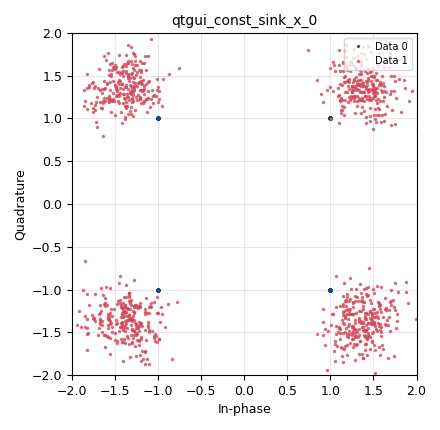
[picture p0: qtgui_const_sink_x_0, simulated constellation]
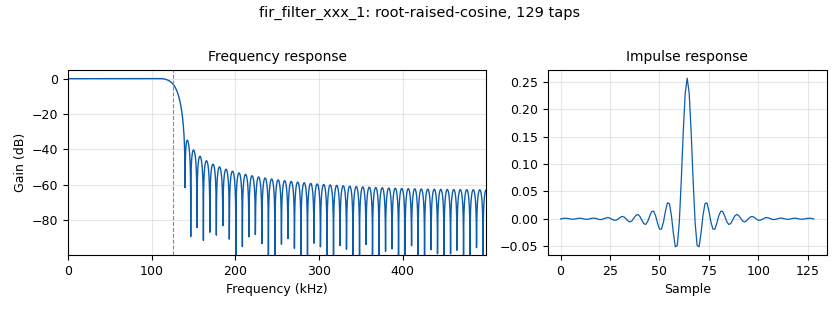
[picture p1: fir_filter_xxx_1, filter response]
options:
  parameters:
    generate_options: qt_gui
    id: QPSK_Channel
    output_language: python
    title: QPSK_Channel
  states: {}

blocks:
- name: excess_bw
  id: variable
  parameters:
    value: '0.1'
  states: {}
- name: freq_offset
  id: variable_qtgui_range
  parameters:
    label: 'Channel : Frequency Offset'
    start: '-100e-3'
    step: '1e-3'
    stop: '100e-3'
    value: '0'
  states: {}
- name: noise_volt
  id: variable_qtgui_range
  parameters:
    label: 'Channel : Noise Voltage'
    start: '0'
    step: '10e-3'
    stop: '1'
    value: '0'
  states: {}
- name: phase_bw
  id: variable
  parameters:
    value: '62.8e-3'
  states: {}
- name: qpsk
  id: variable_constellation_rect
  parameters:
    const_points: sym_map
    imag_sect: '2'
    real_sect: '2'
    rot_sym: '4'
    sym_map: '[0, 1, 2, 3]'
    w_imag_sect: '1'
    w_real_sect: '1'
  states: {}
- name: rrc_taps
  id: variable
  parameters:
    value: firdes.root_raised_cosine(1.0,samp_rate,samp_rate/sps,excess_bw,128)
  states: {}
- name: samp_rate
  id: variable
  parameters:
    value: 1e6
  states: {}
- name: sps
  id: variable
  parameters:
    value: '4'
  states: {}
- name: sym_map
  id: variable
  parameters:
    value: '[1+1j,1-1j,-1+1j,-1-1j]'
  states: {}
- name: time_offset
  id: variable_qtgui_range
  parameters:
    label: 'Channel : Timing Offset'
    start: '0.999'
    step: '100e-6'
    stop: '1.001'
    value: '1'
  states: {}
- name: variable_adaptive_algorithm_0
  id: variable_adaptive_algorithm
  parameters:
    cons: qpsk
    modulus: '4'
    step_size: '.0001'
    type: cma
  states: {}
- name: analog_random_source_x_0
  id: analog_random_source_x
  parameters:
    max: '4'
    min: '0'
    num_samps: '100000'
    repeat: 'True'
    type: byte
  states: {}
- name: blocks_char_to_float_1
  id: blocks_char_to_float
  parameters:
    scale: '1'
  states: {}
- name: blocks_char_to_float_2
  id: blocks_char_to_float
  parameters:
    scale: '1'
  states: {}
- name: blocks_delay_0
  id: blocks_delay
  parameters:
    delay: '15'
    type: complex
  states: {}
- name: blocks_delay_1
  id: blocks_delay
  parameters:
    delay: '15'
    type: float
  states: {}
- name: blocks_delay_2
  id: blocks_delay
  parameters:
    delay: '0'
    type: complex
  states: {state: disabled}
- name: blocks_delay_2_0
  id: blocks_delay
  parameters:
    delay: '3'
    type: complex
  states: {state: disabled}
- name: blocks_delay_2_1
  id: blocks_delay
  parameters:
    delay: '2'
    type: complex
  states: {state: disabled}
- name: blocks_delay_2_2
  id: blocks_delay
  parameters:
    delay: '1'
    type: complex
  states: {state: disabled}
- name: blocks_float_to_int_0
  id: blocks_float_to_int
  parameters:
    scale: '1'
  states: {}
- name: blocks_throttle2_0_0
  id: blocks_throttle2
  parameters:
    samples_per_second: samp_rate/4
    type: complex
  states: {}
- name: channels_channel_model_0
  id: channels_channel_model
  parameters:
    epsilon: time_offset
    freq_offset: freq_offset
    noise_voltage: noise_volt
    seed: '0'
    taps: '1.0'
  states: {}
- name: digital_chunks_to_symbols_xx_0
  id: digital_chunks_to_symbols_xx
  parameters:
    dimension: '1'
    in_type: int
    out_type: complex
    symbol_table: sym_map
  states: {}
- name: digital_constellation_decoder_cb_0
  id: digital_constellation_decoder_cb
  parameters:
    constellation: qpsk
  states: {}
- name: digital_costas_loop_cc_0
  id: digital_costas_loop_cc
  parameters:
    order: '4'
    w: phase_bw
  states: {}
- name: digital_linear_equalizer_0_0
  id: digital_linear_equalizer
  parameters:
    alg: variable_adaptive_algorithm_0
    num_taps: '15'
    sps: '4'
  states: {}
- name: digital_symbol_sync_xx_0
  id: digital_symbol_sync_xx
  parameters:
    constellation: digital.constellation_qpsk().base()
    damping: '1.0'
    loop_bw: 2*np.pi*0.04
    max_dev: '1.5'
    osps: '4'
    resamp_type: digital.IR_MMSE_8TAP
    sps: sps
    ted_gain: '1'
    ted_type: digital.TED_MUELLER_AND_MULLER
    type: cc
  states: {}
- name: fir_filter_xxx_1
  id: fir_filter_xxx
  parameters:
    decim: '1'
    taps: rrc_taps
    type: ccc
  states: {}
- name: import_0
  id: import
  parameters:
    imports: import numpy as np
  states: {}
- name: interp_fir_filter_xxx_0
  id: interp_fir_filter_xxx
  parameters:
    interp: '4'
    taps: '[1,0,0,0]'
    type: ccc
  states: {}
- name: qtgui_const_sink_x_0
  id: qtgui_const_sink_x
  parameters:
    grid: 'True'
    gui_hint: 0,1,1,1
    nconnections: '2'
    size: '1024'
    type: complex
  states: {}
- name: qtgui_eye_sink_x_0
  id: qtgui_eye_sink_x
  parameters:
    color2: red
    grid: 'True'
    gui_hint: 0,0,1,1
    label1: Real Delay 0
    label2: Imag Delay 0
    samp_per_symbol: sps
    size: '1024'
    srate: samp_rate
    type: complex
    ymax: '3'
    ymin: '-3'
  states: {state: disabled}
- name: qtgui_eye_sink_x_0_0
  id: qtgui_eye_sink_x
  parameters:
    color2: red
    grid: 'True'
    gui_hint: 0,1,1,1
    label1: Real Delay 1
    label2: Imag Delay 1
    samp_per_symbol: sps
    size: '1024'
    srate: samp_rate
    type: complex
    ymax: '3'
    ymin: '-3'
  states: {state: disabled}
- name: qtgui_eye_sink_x_0_1
  id: qtgui_eye_sink_x
  parameters:
    color2: red
    grid: 'True'
    gui_hint: 1,0,1,1
    label1: Real Delay 2
    label2: Imag Delay 2
    samp_per_symbol: sps
    size: '1024'
    srate: samp_rate
    type: complex
    ymax: '3'
    ymin: '-3'
  states: {state: disabled}
- name: qtgui_eye_sink_x_0_2
  id: qtgui_eye_sink_x
  parameters:
    color2: red
    grid: 'True'
    gui_hint: 1,1,1,1
    label1: Real Delay 3
    label2: Imag Delay 3
    samp_per_symbol: sps
    size: '1024'
    srate: samp_rate
    type: complex
    ymax: '3'
    ymin: '-3'
  states: {state: disabled}
- name: qtgui_number_sink_0
  id: qtgui_number_sink
  parameters:
    graph_type: qtgui.NUM_GRAPH_HORIZ
    gui_hint: 1,1,1,1
    max: '3'
    nconnections: '2'
    type: float
  states: {}
- name: qtgui_time_sink_x_1
  id: qtgui_time_sink_x
  parameters:
    gui_hint: 0,0,1,1
    nconnections: '2'
    size: '1024'
    srate: samp_rate
    type: complex
  states: {state: disabled}
- name: qtgui_time_sink_x_2
  id: qtgui_time_sink_x
  parameters:
    gui_hint: 1,0,1,1
    nconnections: '2'
    size: '1024'
    srate: samp_rate
    type: float
    ymax: '3'
  states: {state: disabled}
- name: virtual_sink_0
  id: virtual_sink
  parameters:
    stream_id: send_symbol
  states: {}
- name: virtual_sink_0_0
  id: virtual_sink
  parameters:
    stream_id: receive_symbol
  states: {}
- name: virtual_sink_1
  id: virtual_sink
  parameters:
    stream_id: send_float
  states: {}
- name: virtual_sink_2
  id: virtual_sink
  parameters:
    stream_id: receive_float
  states: {}
- name: virtual_sink_2_0
  id: virtual_sink
  parameters:
    stream_id: send_receive
  states: {}
- name: virtual_source_0
  id: virtual_source
  parameters:
    stream_id: send_symbol
  states: {}
- name: virtual_source_0_0
  id: virtual_source
  parameters:
    stream_id: receive_symbol
  states: {}
- name: virtual_source_0_0_1
  id: virtual_source
  parameters:
    stream_id: send_receive
  states: {}
- name: virtual_source_0_0_1_0
  id: virtual_source
  parameters:
    stream_id: receive_symbol
  states: {state: disabled}
- name: virtual_source_1
  id: virtual_source
  parameters:
    stream_id: send_float
  states: {}
- name: virtual_source_1_0
  id: virtual_source
  parameters:
    stream_id: receive_float
  states: {}

connections:
- [analog_random_source_x_0, '0', blocks_char_to_float_2, '0']
- [blocks_char_to_float_1, '0', virtual_sink_2, '0']
- [blocks_char_to_float_2, '0', blocks_float_to_int_0, '0']
- [blocks_char_to_float_2, '0', virtual_sink_1, '0']
- [blocks_delay_0, '0', qtgui_const_sink_x_0, '0']
- [blocks_delay_0, '0', qtgui_time_sink_x_1, '0']
- [blocks_delay_1, '0', qtgui_number_sink_0, '0']
- [blocks_delay_1, '0', qtgui_time_sink_x_2, '0']
- [blocks_delay_2, '0', qtgui_eye_sink_x_0, '0']
- [blocks_delay_2_0, '0', qtgui_eye_sink_x_0_2, '0']
- [blocks_delay_2_1, '0', qtgui_eye_sink_x_0_1, '0']
- [blocks_delay_2_2, '0', qtgui_eye_sink_x_0_0, '0']
- [blocks_float_to_int_0, '0', digital_chunks_to_symbols_xx_0, '0']
- [blocks_throttle2_0_0, '0', interp_fir_filter_xxx_0, '0']
- [blocks_throttle2_0_0, '0', virtual_sink_0, '0']
- [channels_channel_model_0, '0', virtual_sink_2_0, '0']
- [digital_chunks_to_symbols_xx_0, '0', blocks_throttle2_0_0, '0']
- [digital_constellation_decoder_cb_0, '0', blocks_char_to_float_1, '0']
- [digital_costas_loop_cc_0, '0', digital_constellation_decoder_cb_0, '0']
- [digital_costas_loop_cc_0, '0', virtual_sink_0_0, '0']
- [digital_linear_equalizer_0_0, '0', digital_costas_loop_cc_0, '0']
- [digital_symbol_sync_xx_0, '0', digital_linear_equalizer_0_0, '0']
- [fir_filter_xxx_1, '0', channels_channel_model_0, '0']
- [interp_fir_filter_xxx_0, '0', fir_filter_xxx_1, '0']
- [virtual_source_0, '0', blocks_delay_0, '0']
- [virtual_source_0_0, '0', qtgui_const_sink_x_0, '1']
- [virtual_source_0_0, '0', qtgui_time_sink_x_1, '1']
- [virtual_source_0_0_1, '0', digital_symbol_sync_xx_0, '0']
- [virtual_source_0_0_1_0, '0', blocks_delay_2, '0']
- [virtual_source_0_0_1_0, '0', blocks_delay_2_0, '0']
- [virtual_source_0_0_1_0, '0', blocks_delay_2_1, '0']
- [virtual_source_0_0_1_0, '0', blocks_delay_2_2, '0']
- [virtual_source_1, '0', blocks_delay_1, '0']
- [virtual_source_1_0, '0', qtgui_number_sink_0, '1']
- [virtual_source_1_0, '0', qtgui_time_sink_x_2, '1']

metadata:
  file_format: 1
  grc_version: 3.10.10.0
